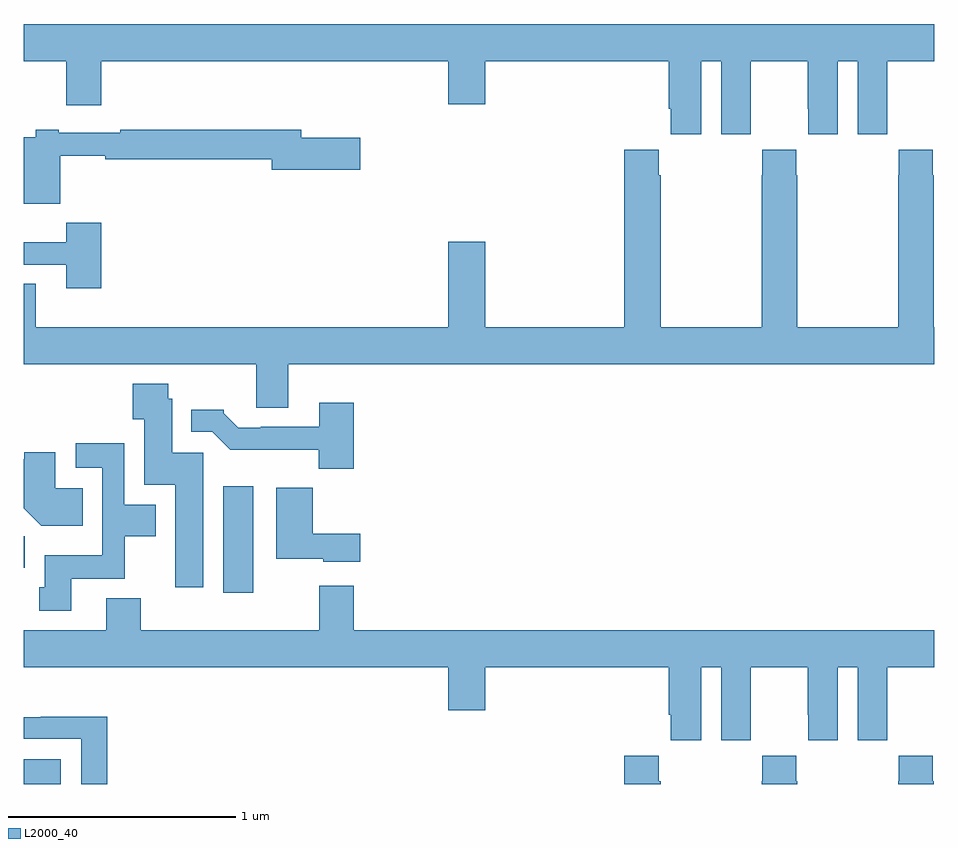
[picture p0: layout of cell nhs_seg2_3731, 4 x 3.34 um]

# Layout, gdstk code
import gdstk
lib = gdstk.Library(unit=1e-6, precision=1e-09)
def R(c, l, rs):  # rectangles x0, y0, x1, y1
    for r in rs: c.add(gdstk.rectangle(r[:2], r[2:], *l))
def P(c, l, *ps):  # polygons
    for p in ps: c.add(gdstk.Polygon(p, *l))
L2000_40 = (2000, 40)

nhs_seg2_3731 = lib.new_cell('nhs_seg2_3731')
R(nhs_seg2_3731, L2000_40, [(307,637.8,307.162,637.909), (307.877,638.64,308.008,639.109), (307,638.75,307.003,638.888)])
P(nhs_seg2_3731, L2000_40, [(307,640.976),(307.187,640.976),(307.187,640.782),(307.34,640.782),(307.34,640.976),(308.864,640.976),(308.864,640.788),(309.028,640.788),(309.028,640.976),(309.833,640.976),(309.833,640.768),(309.842,640.768),(309.842,640.656),(309.976,640.656),(309.976,640.976),(310.064,640.976),(310.064,640.656),(310.194,640.656),(310.194,640.768),(310.195,640.768),(310.195,640.976),(310.445,640.976),(310.445,640.768),(310.446,640.768),(310.446,640.656),(310.576,640.656),(310.576,640.976),(310.664,640.976),(310.664,640.656),(310.794,640.656),(310.794,640.768),(310.795,640.768),(310.795,640.976),(311,640.976),(311,641.14),(307,641.14)],
  [(307.16,640.561),(307.358,640.561),(307.358,640.546),(308.09,640.546),(308.09,640.499),(308.479,640.499),(308.479,640.641),(308.218,640.641),(308.218,640.675),(307.423,640.675),(307.423,640.662),(307.153,640.662),(307.153,640.675),(307.053,640.675),(307.053,640.642),(307,640.642),(307,640.349),(307.16,640.349)],
  [(311,639.808),(310.998,639.808),(310.998,640.475),(310.995,640.475),(310.995,640.588),(310.845,640.588),(310.845,640.475),(310.843,640.475),(310.843,639.808),(310.398,639.808),(310.398,640.475),(310.395,640.475),(310.395,640.588),(310.245,640.588),(310.245,640.475),(310.243,640.475),(310.243,639.808),(309.798,639.808),(309.798,640.475),(309.791,640.475),(309.791,640.588),(309.638,640.588),(309.638,639.808),(309.028,639.808),(309.028,640.183),(308.864,640.183),(308.864,639.808),(307.051,639.808),(307.051,639.998),(307,639.998),(307,639.644),(308.021,639.644),(308.021,639.454),(308.161,639.454),(308.161,639.644),(311,639.644)],
  [(307.34,640.267),(307.185,640.267),(307.185,640.18),(307,640.18),(307,640.083),(307.187,640.083),(307.187,639.978),(307.34,639.978)],
  [(307.789,639.255),(307.651,639.255),(307.651,639.492),(307.635,639.492),(307.635,639.559),(307.478,639.559),(307.478,639.403),(307.529,639.403),(307.529,639.116),(307.664,639.116),(307.664,638.664),(307.789,638.664)],
  [(308.45,639.475),(308.297,639.475),(308.297,639.369),(308.041,639.369),(308.041,639.366),(307.942,639.366),(307.878,639.43),(307.878,639.445),(307.736,639.445),(307.736,639.348),(307.827,639.348),(307.906,639.27),(308.295,639.27),(308.295,639.185),(308.45,639.185)],
  [(307.207,638.702),(307.443,638.702),(307.443,638.888),(307.579,638.888),(307.579,639.028),(307.44,639.028),(307.44,639.298),(307.227,639.298),(307.227,639.189),(307.344,639.189),(307.344,638.806),(307.091,638.806),(307.091,638.664),(307.067,638.664),(307.067,638.562),(307.207,638.562)],
  [(307.259,639.1),(307.138,639.1),(307.138,639.258),(307.002,639.258),(307.002,639.228),(307,639.228),(307,639.012),(307.076,638.936),(307.259,638.936)],
  [(308.479,638.899),(308.27,638.899),(308.27,639.103),(308.108,639.103),(308.108,638.789),(308.316,638.789),(308.316,638.777),(308.479,638.777)],
  [(308.45,638.671),(308.297,638.671),(308.297,638.476),(307.514,638.476),(307.514,638.617),(307.361,638.617),(307.361,638.476),(307,638.476),(307,638.312),(308.864,638.312),(308.864,638.124),(309.028,638.124),(309.028,638.312),(309.833,638.312),(309.833,638.104),(309.842,638.104),(309.842,637.992),(309.976,637.992),(309.976,638.312),(310.064,638.312),(310.064,637.992),(310.194,637.992),(310.194,638.104),(310.195,638.104),(310.195,638.312),(310.445,638.312),(310.445,638.104),(310.446,638.104),(310.446,637.992),(310.576,637.992),(310.576,638.312),(310.664,638.312),(310.664,637.992),(310.794,637.992),(310.794,638.104),(310.795,638.104),(310.795,638.312),(311,638.312),(311,638.476),(308.45,638.476)],
  [(307.367,638.096),(307.075,638.096),(307.075,638.094),(307,638.094),(307,637.998),(307.251,637.998),(307.251,637.8),(307.367,637.8)],
  [(309.798,637.811),(309.791,637.811),(309.791,637.924),(309.638,637.924),(309.638,637.8),(309.798,637.8)],
  [(310.398,637.811),(310.395,637.811),(310.395,637.924),(310.245,637.924),(310.245,637.811),(310.243,637.811),(310.243,637.8),(310.398,637.8)],
  [(310.998,637.811),(310.995,637.811),(310.995,637.924),(310.845,637.924),(310.845,637.811),(310.843,637.811),(310.843,637.8),(310.998,637.8)])

lib.write_gds('nhs_seg2_3731.gds')
